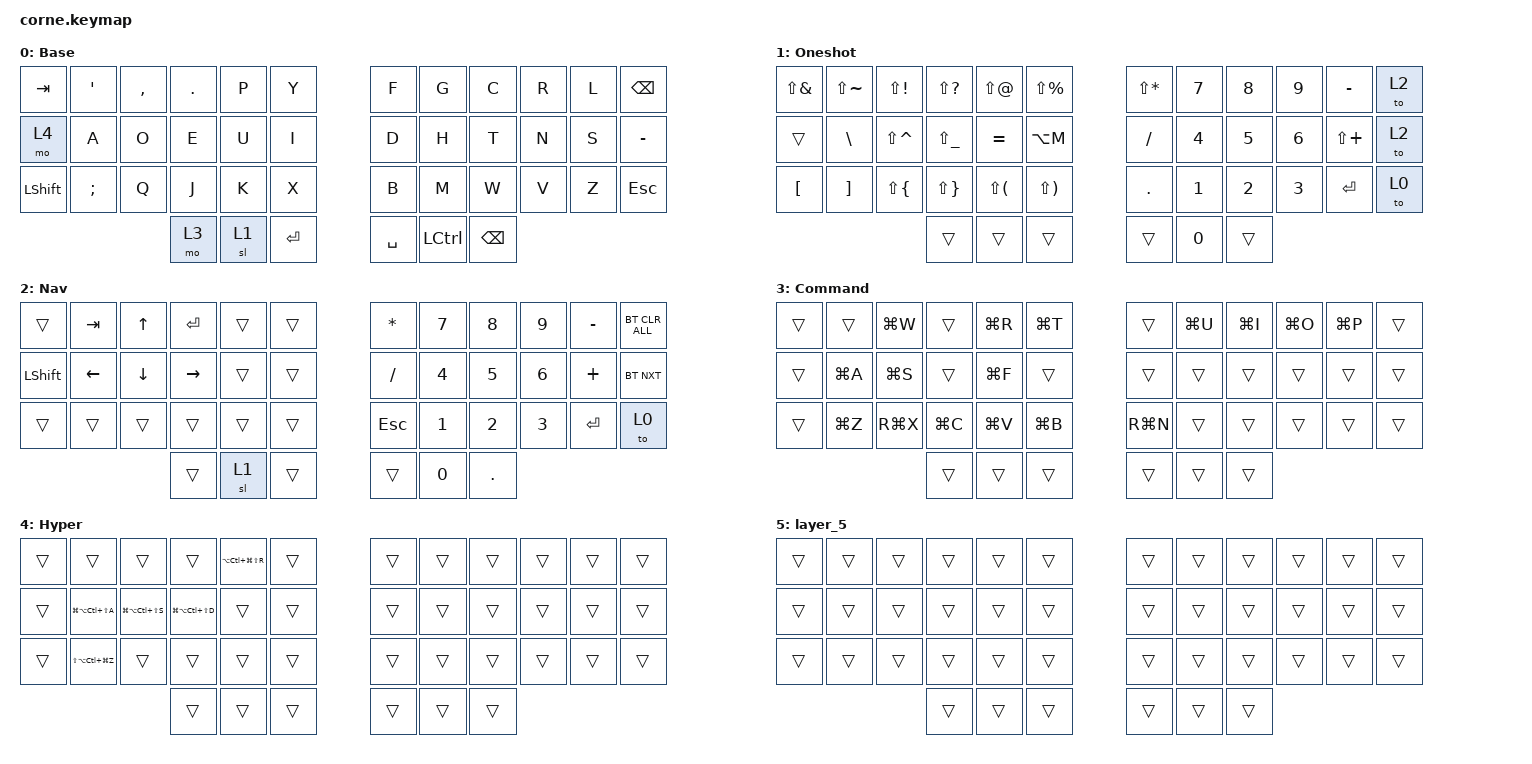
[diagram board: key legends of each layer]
/*
 * Copyright (c) 2020 The ZMK Contributors
 *
 * SPDX-License-Identifier: MIT
 */

#include <behaviors.dtsi>
#include <dt-bindings/zmk/bt.h>
#include <dt-bindings/zmk/keys.h>

/ {
    keymap {
        compatible = "zmk,keymap";

        default_layer {
            // -----------------------------------------------------------------------------------------
            // |  TAB |  Q  |  W  |  E  |  R  |  T  |   |  Y  |  U   |  I  |  O  |  P  | BKSP |
            // | CTRL |  A  |  S  |  D  |  F  |  G  |   |  H  |  J   |  K  |  L  |  ;  |  '   |
            // | SHFT |  Z  |  X  |  C  |  V  |  B  |   |  N  |  M   |  ,  |  .  |  /  | ESC  |
            //                    | GUI | LWR | SPC |   | ENT | RSE  | ALT |

            display-name = "Base";
            bindings = <
&kp TAB    &kp APOS  &kp COMMA  &kp DOT  &kp P  &kp Y        &kp F      &kp G             &kp C     &kp R  &kp L  &kp BSPC
&mo 4      &kp A     &kp O      &kp E    &kp U  &kp I        &kp D      &kp H             &kp T     &kp N  &kp S  &kp MINUS
&kp LSHFT  &kp SEMI  &kp Q      &kp J    &kp K  &kp X        &kp B      &kp M             &kp W     &kp V  &kp Z  &kp ESC
                                &mo 3    &sl 1  &kp ENTER    &kp SPACE  &kp LEFT_CONTROL  &kp BSPC
            >;
        };

        Oneshot {
            bindings = <
&kp LS(AMPS)  &kp LS(TILDE)  &kp LS(EXCL)   &kp LS(QMARK)  &kp LS(AT)    &kp LS(PRCNT)    &kp LS(STAR)  &kp N7  &kp N8  &kp N9  &kp MINUS     &to 2
&trans        &kp BSLH       &kp LS(CARET)  &kp LS(UNDER)  &kp EQUAL     &kp LA(M)        &kp FSLH      &kp N4  &kp N5  &kp N6  &kp LS(PLUS)  &to 2
&kp LBKT      &kp RBKT       &kp LS(LBRC)   &kp LS(RBRC)   &kp LS(LPAR)  &kp LS(RPAR)     &kp PERIOD    &kp N1  &kp N2  &kp N3  &kp RET       &to 0
                                            &trans         &trans        &trans           &trans        &kp N0  &trans
            >;
        };

        Nav {
            bindings = <
&trans          &kp TAB   &kp UP    &kp ENTER  &trans  &trans    &kp STAR  &kp N7  &kp N8   &kp N9  &kp MINUS  &bt BT_CLR_ALL
&kp LEFT_SHIFT  &kp LEFT  &kp DOWN  &kp RIGHT  &trans  &trans    &kp FSLH  &kp N4  &kp N5   &kp N6  &kp PLUS   &bt BT_NXT
&trans          &trans    &trans    &trans     &trans  &trans    &kp ESC   &kp N1  &kp N2   &kp N3  &kp RET    &to 0
                                    &trans     &sl 1   &trans    &trans    &kp N0  &kp DOT
            >;
        };

        Command {
            bindings = <
&trans  &trans     &kp LG(W)  &trans     &kp LG(R)  &kp LG(T)    &trans     &kp LG(U)  &kp LG(I)  &kp LG(O)  &kp LG(P)  &trans
&trans  &kp LG(A)  &kp LG(S)  &trans     &kp LG(F)  &trans       &trans     &trans     &trans     &trans     &trans     &trans
&trans  &kp LG(Z)  &kp RG(X)  &kp LG(C)  &kp LG(V)  &kp LG(B)    &kp RG(N)  &trans     &trans     &trans     &trans     &trans
                              &trans     &trans     &trans       &trans     &trans     &trans
            >;
        };

        Hyper {
            bindings = <
&trans  &trans                 &trans                 &trans                 &kp LA(LC(LG(LS(R))))  &trans    &trans  &trans  &trans  &trans  &trans  &trans
&trans  &kp LG(LA(LC(LS(A))))  &kp LG(LA(LC(LS(S))))  &kp LG(LA(LC(LS(D))))  &trans                 &trans    &trans  &trans  &trans  &trans  &trans  &trans
&trans  &kp LS(LA(LC(LG(Z))))  &trans                 &trans                 &trans                 &trans    &trans  &trans  &trans  &trans  &trans  &trans
                                                      &trans                 &trans                 &trans    &trans  &trans  &trans
            >;
        };

        layer_5 {
            bindings = <
&trans  &trans  &trans  &trans  &trans  &trans    &trans  &trans  &trans  &trans  &trans  &trans
&trans  &trans  &trans  &trans  &trans  &trans    &trans  &trans  &trans  &trans  &trans  &trans
&trans  &trans  &trans  &trans  &trans  &trans    &trans  &trans  &trans  &trans  &trans  &trans
                        &trans  &trans  &trans    &trans  &trans  &trans
            >;
        };
    };
};
